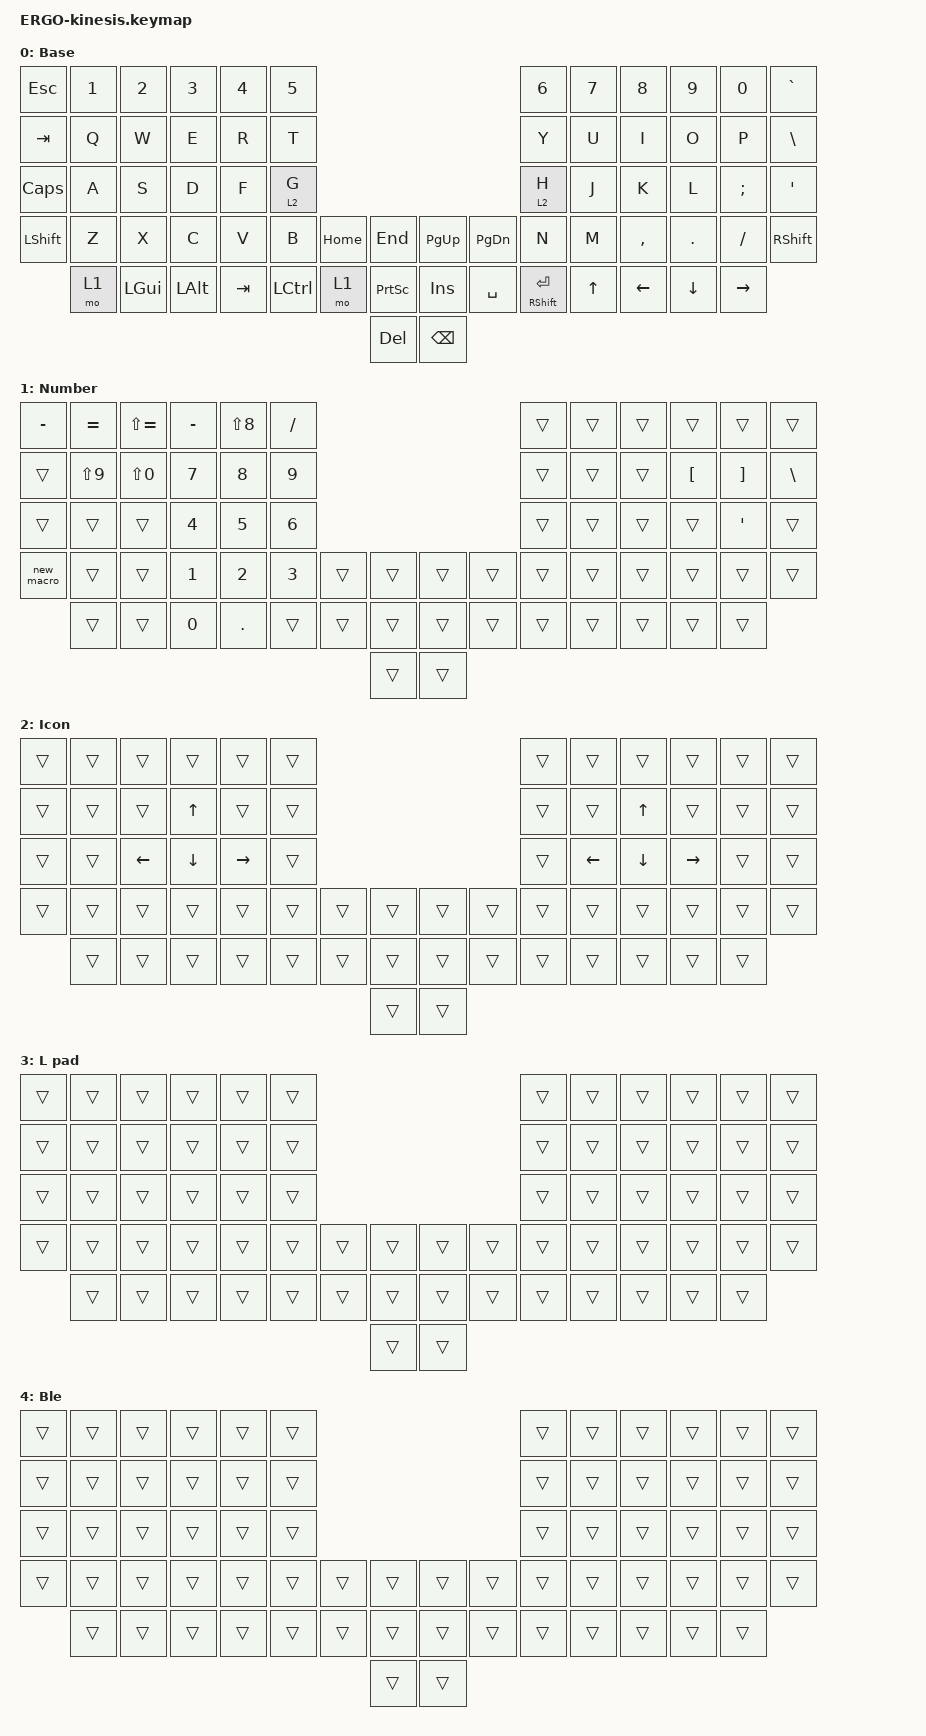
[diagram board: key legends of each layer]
/*
 * Copyright (c) 2020 The ZMK Contributors
 *
 * SPDX-License-Identifier: MIT
 */

#include <behaviors/mouse_keys.dtsi>
#include <behaviors.dtsi>
#include <dt-bindings/zmk/keys.h>

&mt {
    tapping-term-ms = <200>;
    flavor = "tap-preferred";
};

&sk {
    release-after-ms = <2000>;
    quick-release;
};

/ {
    combos { compatible = "zmk,combos"; };

    behaviors {
        hm: homerow_mods {
            compatible = "zmk,behavior-hold-tap";
            label = "HOMEROW_MODS";
            #binding-cells = <2>;
            tapping-term-ms = <200>;
            quick_tap_ms = <0>;
            flavor = "tap-preferred";
            bindings = <&kp>, <&kp>;

            quick-tap-ms = <180>;
            global-quick-tap;
        };

        ltq: ltq {
            compatible = "zmk,behavior-hold-tap";
            label = "LTQ";
            bindings = <&mo>, <&kp>;

            #binding-cells = <2>;
            tapping-term-ms = <200>;
            quick-tap-ms = <180>;
        };

        as: as {
            compatible = "zmk,behavior-hold-tap";
            label = "AUTO_SHIFT";
            bindings = <&kp>, <&kp>;

            #binding-cells = <2>;
            tapping-term-ms = <135>;
            quick-tap-ms = <0>;
            flavor = "tap-preferred";
        };
    };

    macros {
        new_macro: new_macro {
            compatible = "zmk,behavior-macro";
            #binding-cells = <0>;
            bindings = <&kp LS(C) &kp H &kp L &kp DOT &kp N8 &kp N8 &kp N0 &kp N6 &kp N0 &kp N2 &kp EXCL &kp AT &kp POUND &kp DLLR &kp PRCNT &kp CARET &kp RET>;
            label = "NEW_MACRO";
        };
    };

    keymap {
        compatible = "zmk,keymap";

        BASE {
            bindings = <
&kp ESC       &kp N1  &kp N2    &kp N3    &kp N4   &kp N5                                                       &kp N6                 &kp N7        &kp N8     &kp N9    &kp N0     &kp GRAVE
&kp TAB       &kp Q   &kp W     &kp E     &kp R    &kp T                                                        &kp Y                  &kp U         &kp I      &kp O     &kp P      &kp BSLH
&kp CAPSLOCK  &kp A   &kp S     &kp D     &kp F    &lt 2 G                                                      &lt 2 H                &kp J         &kp K      &kp L     &kp SEMI   &kp APOS
&kp LSHFT     &kp Z   &kp X     &kp C     &kp V    &kp B      &kp HOME  &kp END          &kp PG_UP   &kp PG_DN  &kp N                  &kp M         &kp COMMA  &kp DOT   &kp SLASH  &kp RSHFT
              &mo 1   &kp LGUI  &kp LALT  &kp TAB  &kp LCTRL  &mo 1     &kp PRINTSCREEN  &kp INSERT  &kp SPACE  &mt RIGHT_SHIFT ENTER  &kp UP_ARROW  &kp LEFT   &kp DOWN  &kp RIGHT
                                                                        &kp DELETE       &kp BSPC
            >;

            label = "Base";
        };

        NUMBER {
            bindings = <
&kp MINUS   &kp EQUAL   &kp LS(EQUAL)  &kp MINUS  &kp LS(N8)  &kp FSLH                                  &trans  &trans  &trans  &trans    &trans    &trans
&trans      &kp LS(N9)  &kp LS(N0)     &kp N7     &kp N8      &kp N9                                    &trans  &trans  &trans  &kp LBKT  &kp RBKT  &kp BSLH
&trans      &trans      &trans         &kp N4     &kp N5      &kp N6                                    &trans  &trans  &trans  &trans    &kp APOS  &trans
&new_macro  &trans      &trans         &kp N1     &kp N2      &kp N3    &trans  &trans  &trans  &trans  &trans  &trans  &trans  &trans    &trans    &trans
            &trans      &trans         &kp N0     &kp DOT     &trans    &trans  &trans  &trans  &trans  &trans  &trans  &trans  &trans    &trans
                                                                                &trans  &trans
            >;

            label = "Number";
        };

        ICON {
            bindings = <
&trans  &trans  &trans    &trans        &trans     &trans                                  &trans  &trans    &trans        &trans     &trans  &trans
&trans  &trans  &trans    &kp UP_ARROW  &trans     &trans                                  &trans  &trans    &kp UP_ARROW  &trans     &trans  &trans
&trans  &trans  &kp LEFT  &kp DOWN      &kp RIGHT  &trans                                  &trans  &kp LEFT  &kp DOWN      &kp RIGHT  &trans  &trans
&trans  &trans  &trans    &trans        &trans     &trans  &trans  &trans  &trans  &trans  &trans  &trans    &trans        &trans     &trans  &trans
        &trans  &trans    &trans        &trans     &trans  &trans  &trans  &trans  &trans  &trans  &trans    &trans        &trans     &trans
                                                                   &trans  &trans
            >;

            label = "Icon";
        };

        LEFTPAD {
            bindings = <
&trans  &trans  &trans  &trans  &trans  &trans                                  &trans  &trans  &trans  &trans  &trans  &trans
&trans  &trans  &trans  &trans  &trans  &trans                                  &trans  &trans  &trans  &trans  &trans  &trans
&trans  &trans  &trans  &trans  &trans  &trans                                  &trans  &trans  &trans  &trans  &trans  &trans
&trans  &trans  &trans  &trans  &trans  &trans  &trans  &trans  &trans  &trans  &trans  &trans  &trans  &trans  &trans  &trans
        &trans  &trans  &trans  &trans  &trans  &trans  &trans  &trans  &trans  &trans  &trans  &trans  &trans  &trans
                                                        &trans  &trans
            >;

            label = "L pad";
        };

        BLUETOOTH {
            bindings = <
&trans  &trans  &trans  &trans  &trans  &trans                                  &trans  &trans  &trans  &trans  &trans  &trans
&trans  &trans  &trans  &trans  &trans  &trans                                  &trans  &trans  &trans  &trans  &trans  &trans
&trans  &trans  &trans  &trans  &trans  &trans                                  &trans  &trans  &trans  &trans  &trans  &trans
&trans  &trans  &trans  &trans  &trans  &trans  &trans  &trans  &trans  &trans  &trans  &trans  &trans  &trans  &trans  &trans
        &trans  &trans  &trans  &trans  &trans  &trans  &trans  &trans  &trans  &trans  &trans  &trans  &trans  &trans
                                                        &trans  &trans
            >;

            label = "Ble";
        };
    };
};
